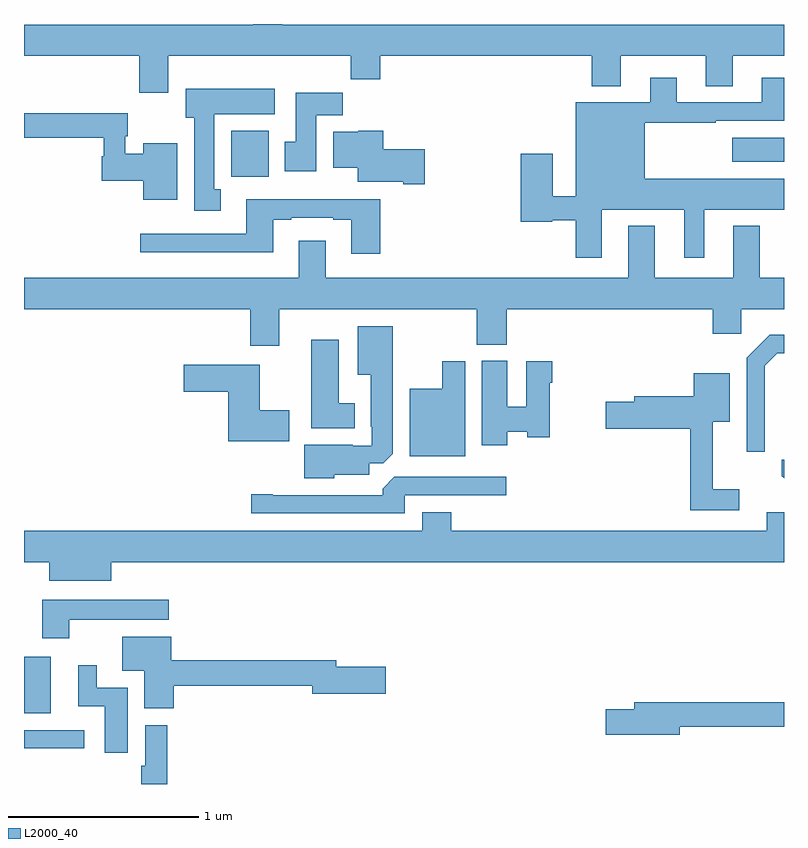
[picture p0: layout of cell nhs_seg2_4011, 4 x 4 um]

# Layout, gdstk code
import gdstk
lib = gdstk.Library(unit=1e-6, precision=1e-09)
def R(c, l, rs):  # rectangles x0, y0, x1, y1
    for r in rs: c.add(gdstk.rectangle(r[:2], r[2:], *l))
def P(c, l, *ps):  # polygons
    for p in ps: c.add(gdstk.Polygon(p, *l))
L2000_40 = (2000, 40)

nhs_seg2_4011 = lib.new_cell('nhs_seg2_4011')
R(nhs_seg2_4011, L2000_40, [(325,648.173,325.141,648.469), (326.09,650.996,326.287,651.238), (328.728,651.074,329,651.202)])
P(nhs_seg2_4011, L2000_40, [(325.759,651.632),(326.719,651.632),(326.719,651.508),(326.876,651.508),(326.876,651.632),(327.989,651.632),(327.989,651.473),(328.141,651.473),(328.141,651.632),(328.589,651.632),(328.589,651.472),(328.729,651.472),(328.729,651.632),(329,651.632),(329,651.796),(326.36,651.796),(326.36,651.8),(326.207,651.8),(326.207,651.796),(325,651.796),(325,651.632),(325.607,651.632),(325.607,651.438),(325.759,651.438)],
  [(328.042,650.822),(328.475,650.822),(328.475,650.571),(328.579,650.571),(328.579,650.822),(329,650.822),(329,650.986),(328.267,650.986),(328.267,651.279),(328.64,651.279),(328.64,651.291),(329,651.291),(329,651.517),(328.883,651.517),(328.883,651.387),(328.435,651.387),(328.435,651.517),(328.295,651.517),(328.295,651.388),(327.905,651.388),(327.905,650.894),(327.784,650.894),(327.784,651.118),(327.614,651.118),(327.614,650.758),(327.78,650.758),(327.78,650.766),(327.905,650.766),(327.905,650.571),(328.042,650.571)],
  [(326.035,650.93),(326.002,650.93),(326.002,651.326),(326.32,651.326),(326.32,651.46),(325.85,651.46),(325.85,651.306),(325.895,651.306),(325.895,650.817),(326.035,650.817)],
  [(326.539,651.32),(326.678,651.32),(326.678,651.439),(326.429,651.439),(326.429,651.18),(326.372,651.18),(326.372,651.024),(326.539,651.024)],
  [(325.807,651.172),(325.628,651.172),(325.628,651.117),(325.533,651.117),(325.533,651.21),(325.546,651.21),(325.546,651.331),(325,651.331),(325,651.202),(325.421,651.202),(325.421,651.105),(325.409,651.105),(325.409,650.975),(325.628,650.975),(325.628,650.876),(325.807,650.876)],
  [(327.109,651.14),(326.891,651.14),(326.891,651.238),(326.76,651.238),(326.76,651.232),(326.627,651.232),(326.627,651.044),(326.756,651.044),(326.756,650.969),(326.996,650.969),(326.996,650.957),(327.109,650.957)],
  [(326.876,650.878),(326.171,650.878),(326.171,650.697),(325.611,650.697),(325.611,650.6),(326.311,650.6),(326.311,650.769),(326.407,650.769),(326.407,650.781),(326.627,650.781),(326.627,650.769),(326.723,650.769),(326.723,650.592),(326.876,650.592)],
  [(328.625,650.169),(328.776,650.169),(328.776,650.3),(329,650.3),(329,650.464),(328.873,650.464),(328.873,650.737),(328.733,650.737),(328.733,650.464),(328.321,650.464),(328.321,650.737),(328.181,650.737),(328.181,650.464),(326.587,650.464),(326.587,650.659),(326.447,650.659),(326.447,650.464),(325,650.464),(325,650.3),(326.192,650.3),(326.192,650.106),(326.344,650.106),(326.344,650.3),(327.382,650.3),(327.382,650.113),(327.542,650.113),(327.542,650.3),(328.625,650.3)],
  [(326.634,649.427),(326.818,649.427),(326.818,649.488),(326.892,649.488),(326.941,649.537),(326.941,650.209),(326.756,650.209),(326.756,649.955),(326.825,649.955),(326.825,649.681),(326.829,649.681),(326.829,649.581),(326.729,649.581),(326.729,649.585),(326.474,649.585),(326.474,649.409),(326.634,649.409)],
  [(328.899,650.001),(328.965,650.067),(329,650.067),(329,650.164),(328.924,650.164),(328.803,650.043),(328.803,649.548),(328.899,649.548)],
  [(326.74,649.804),(326.656,649.804),(326.656,650.137),(326.513,650.137),(326.513,649.673),(326.74,649.673)],
  [(327.544,649.655),(327.648,649.655),(327.648,649.625),(327.766,649.625),(327.766,649.913),(327.779,649.913),(327.779,650.026),(327.644,650.026),(327.644,649.785),(327.544,649.785),(327.544,650.028),(327.41,650.028),(327.41,649.584),(327.544,649.584)],
  [(327.322,650.026),(327.2,650.026),(327.2,649.879),(327.029,649.879),(327.029,649.526),(327.322,649.526)],
  [(326.395,649.767),(326.242,649.767),(326.242,650.007),(325.842,650.007),(325.842,649.865),(326.075,649.865),(326.075,649.604),(326.395,649.604)],
  [(328.765,649.351),(328.625,649.351),(328.625,649.706),(328.714,649.706),(328.714,649.963),(328.526,649.963),(328.526,649.842),(328.211,649.842),(328.211,649.812),(328.062,649.812),(328.062,649.67),(328.507,649.67),(328.507,649.242),(328.765,649.242)],
  [(329,649.507),(328.989,649.507),(328.989,649.419),(329,649.408)],
  [(327.003,649.32),(327.538,649.32),(327.538,649.416),(326.949,649.416),(326.888,649.354),(326.888,649.32),(326.308,649.32),(326.308,649.325),(326.196,649.325),(326.196,649.224),(327.003,649.224)],
  [(325.459,648.968),(329,648.968),(329,649.23),(328.91,649.23),(328.91,649.132),(327.248,649.132),(327.248,649.231),(327.095,649.231),(327.095,649.132),(325,649.132),(325,648.968),(325.133,648.968),(325.133,648.869),(325.459,648.869)],
  [(325.237,648.665),(325.762,648.665),(325.762,648.769),(325.097,648.769),(325.097,648.567),(325.237,648.567)],
  [(325.787,648.316),(326.516,648.316),(326.516,648.274),(326.905,648.274),(326.905,648.416),(326.644,648.416),(326.644,648.452),(325.774,648.452),(325.774,648.574),(325.517,648.574),(325.517,648.395),(325.634,648.395),(325.634,648.198),(325.787,648.198)],
  [(325.546,648.306),(325.384,648.306),(325.384,648.424),(325.286,648.424),(325.286,648.21),(325.424,648.21),(325.424,647.964),(325.546,647.964)],
  [(328.45,648.102),(329,648.102),(329,648.23),(328.211,648.23),(328.211,648.194),(328.062,648.194),(328.062,648.059),(328.45,648.059)],
  [(325.754,648.109),(325.638,648.109),(325.638,647.896),(325.618,647.896),(325.618,647.8),(325.754,647.8)],
  [(325.318,648.084),(325,648.084),(325,647.988),(325.081,647.988),(325.081,647.987),(325.318,647.987)])

lib.write_gds('nhs_seg2_4011.gds')
